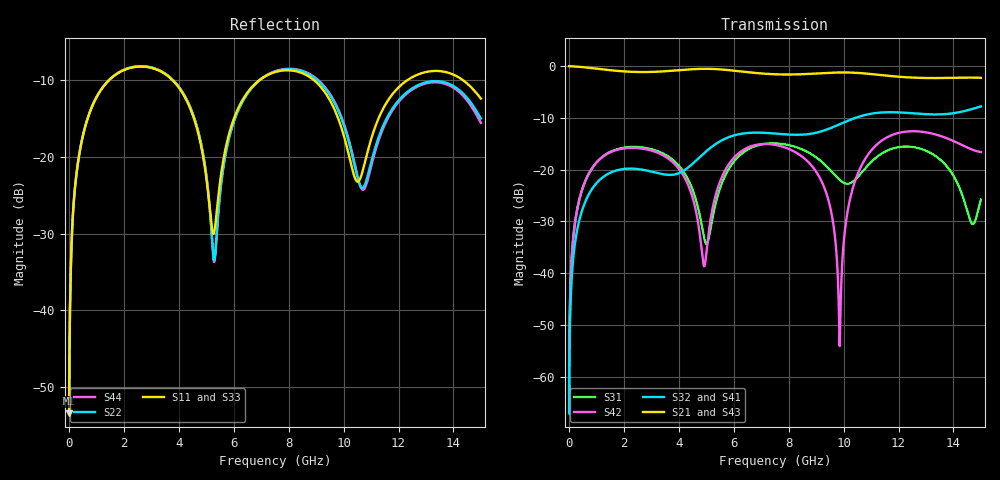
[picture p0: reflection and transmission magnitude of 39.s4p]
! Created with skrf 1.8.0 (http://scikit-rf.org).
# GHz S RI R 50.0
!freq ReS11 ImS11 ReS12 ImS12 ReS13 ImS13
! ReS14 ImS14
! ReS21 ImS21 ReS22 ImS22 ReS23 ImS23
! ReS24 ImS24
! ReS31 ImS31 ReS32 ImS32 ReS33 ImS33
! ReS34 ImS34
! ReS41 ImS41 ReS42 ImS42 ReS43 ImS43
! ReS44 ImS44
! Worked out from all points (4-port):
!   2499 points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, 5 MHz to 15 GHz, reference 50 ohm
!   strongest paths, dB at 5 MHz, 3.476 GHz, 7.19 GHz, 11.1 GHz, 15 GHz:
!     S21: 0.0, -1.0, -1.5, -1.6, -2.3
!     S43: 0.0, -1.0, -1.5, -1.6, -2.2
!     S32: -67.1, -20.9, -12.9, -9.1, -7.8
!     S41: -67.1, -21.0, -13.0, -9.1, -7.8
!     S42: -63.0, -17.4, -15.0, -15.7, -16.6
!     S31: -63.0, -17.0, -15.0, -18.1, -25.8
!   lowest |S11| = -53.4 dB at 5 MHz (marker M1), VSWR 1.00, Z = 50.2 + j0.129 ohm
!   |S11| at or under -10 dB: start of sweep to 1.453 GHz; 3.775 GHz to 6.925 GHz (3.15 GHz wide, 58.9 % of centre); 8.928 GHz to 12.31 GHz (3.384 GHz wide, 31.9 % of centre) (the widest 3 of 4)
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0.005  0.0017 0.00129  0.9983 -0.00331  8.64e-05 0.000699  -8.37e-05 -0.000435
       0.9983 -0.00331  0.0017 0.00129  -8.38e-05 -0.000435  8.63e-05 0.000699
       8.64e-05 0.000699  -8.38e-05 -0.000435  0.0017 0.00129  0.9983 -0.00331
       -8.37e-05 -0.000435  8.63e-05 0.000699  0.9983 -0.00331  0.0017 0.00129
1.67  0.3009 0.1613  0.4728 -0.7695  0.1474 0.0483  -0.0967 0.0072
      0.4728 -0.7695  0.3029 0.1596  -0.0968 0.0074  0.1418 0.0575
      0.1474 0.0483  -0.0968 0.0074  0.3008 0.1614  0.4728 -0.7695
      -0.0967 0.0072  0.1418 0.0575  0.4728 -0.7695  0.3031 0.1595
5.289704  0.0318 0.00631  -0.9353 -0.0601  -0.00792 0.0404  -0.00743 0.1727
          -0.9353 -0.0601  0.0212 6.21e-06  -0.00472 0.1728  0.0209 0.0455
          -0.00792 0.0404  -0.00472 0.1728  0.0326 0.00572  -0.9353 -0.06
          -0.00743 0.1727  0.0209 0.0455  -0.9353 -0.06  0.0206 -0.000447
8.15965  0.3644 -0.0286  -0.0144 0.8302  0.1328 -0.1037  0.2085 -0.0554
         -0.0144 0.8302  0.3716 -0.028  0.2086 -0.0609  0.1353 -0.0683
         0.1328 -0.1037  0.2086 -0.0609  0.3656 -0.0275  -0.0136 0.8294
         0.2085 -0.0554  0.1353 -0.0683  -0.0136 0.8294  0.3744 -0.0297
9.860358  0.121 -0.1156  0.7104 0.4983  -0.0647 -0.046  0.1554 -0.226
          0.7104 0.4983  0.1275 -0.1403  0.1482 -0.2311  -0.00197 -4.32e-05
          -0.0647 -0.046  0.1482 -0.2311  0.1268 -0.1182  0.7093 0.498
          0.1554 -0.226  -0.00197 -4.32e-05  0.7093 0.498  0.1282 -0.1461
11.08587  0.1091 0.0964  0.8249 -0.1193  0.0207 0.1224  -0.0678 -0.3424
          0.8249 -0.1193  0.0857 0.0596  -0.0784 -0.3405  0.1131 0.1158
          0.0207 0.1224  -0.0784 -0.3405  0.1111 0.0869  0.8256 -0.1188
          -0.0678 -0.3424  0.1131 0.1158  0.8256 -0.1188  0.0824 0.0544
15  0.2062 -0.1238  -0.5434 -0.5463  -0.0395 0.0329  -0.296 0.2796
    -0.5434 -0.5463  0.1665 -0.0636  -0.2836 0.2927  -0.1328 -0.0648
    -0.0395 0.0329  -0.2836 0.2927  0.1982 -0.1202  -0.5499 -0.5424
    -0.296 0.2796  -0.1328 -0.0648  -0.5499 -0.5424  0.1564 -0.0582
